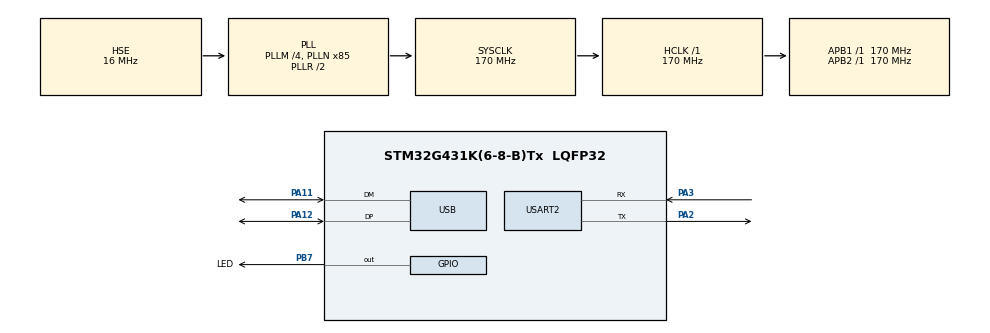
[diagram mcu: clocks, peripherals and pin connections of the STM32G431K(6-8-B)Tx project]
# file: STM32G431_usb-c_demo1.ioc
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Dma.Request0=USART2_RX
Dma.Request1=USART2_TX
Dma.USART2_RX.0.Direction=DMA_PERIPH_TO_MEMORY
Dma.USART2_RX.0.EventEnable=DISABLE
Dma.USART2_RX.0.Instance=DMA1_Channel1
Dma.USART2_RX.0.MemDataAlignment=DMA_MDATAALIGN_BYTE
Dma.USART2_RX.0.MemInc=DMA_MINC_ENABLE
Dma.USART2_RX.0.Mode=DMA_NORMAL
Dma.USART2_RX.0.PeriphDataAlignment=DMA_PDATAALIGN_BYTE
Dma.USART2_RX.0.PeriphInc=DMA_PINC_DISABLE
Dma.USART2_RX.0.Polarity=HAL_DMAMUX_REQ_GEN_RISING
Dma.USART2_RX.0.Priority=DMA_PRIORITY_LOW
Dma.USART2_RX.0.RequestNumber=1
Dma.USART2_RX.0.SignalID=NONE
Dma.USART2_RX.0.SyncEnable=DISABLE
Dma.USART2_RX.0.SyncPolarity=HAL_DMAMUX_SYNC_NO_EVENT
Dma.USART2_RX.0.SyncRequestNumber=1
Dma.USART2_RX.0.SyncSignalID=NONE
Dma.USART2_TX.1.Direction=DMA_MEMORY_TO_PERIPH
Dma.USART2_TX.1.EventEnable=DISABLE
Dma.USART2_TX.1.Instance=DMA1_Channel2
Dma.USART2_TX.1.MemDataAlignment=DMA_MDATAALIGN_BYTE
Dma.USART2_TX.1.MemInc=DMA_MINC_ENABLE
Dma.USART2_TX.1.Mode=DMA_NORMAL
Dma.USART2_TX.1.PeriphDataAlignment=DMA_PDATAALIGN_BYTE
Dma.USART2_TX.1.PeriphInc=DMA_PINC_DISABLE
Dma.USART2_TX.1.Polarity=HAL_DMAMUX_REQ_GEN_RISING
Dma.USART2_TX.1.Priority=DMA_PRIORITY_LOW
Dma.USART2_TX.1.RequestNumber=1
Dma.USART2_TX.1.SignalID=NONE
Dma.USART2_TX.1.SyncEnable=DISABLE
Dma.USART2_TX.1.SyncPolarity=HAL_DMAMUX_SYNC_NO_EVENT
Dma.USART2_TX.1.SyncRequestNumber=1
Dma.USART2_TX.1.SyncSignalID=NONE
Mcu.Family=STM32G4
Mcu.Name=STM32G431K(6-8-B)Tx
Mcu.Package=LQFP32
NVIC.DMA1_Channel1_IRQn=true\:0\:0\:false\:false\:true\:false\:true\:true
NVIC.DMA1_Channel2_IRQn=true\:0\:0\:false\:false\:true\:false\:true\:true
NVIC.PriorityGroup=NVIC_PRIORITYGROUP_4
NVIC.TIM6_DAC_IRQn=true\:15\:0\:false\:false\:true\:false\:true\:true
NVIC.TIM7_IRQn=true\:0\:0\:false\:false\:true\:true\:true\:true
NVIC.TimeBase=TIM6_DAC_IRQn
NVIC.TimeBaseIP=TIM6
NVIC.USART2_IRQn=true\:0\:0\:false\:false\:true\:true\:true\:true
NVIC.USB_LP_IRQn=true\:0\:0\:false\:false\:true\:false\:true\:true
PA11.Mode=Device
PA11.Signal=USB_DM
PA12.Mode=Device
PA12.Signal=USB_DP
PA13.Mode=Trace_Asynchronous_SW
PA13.Signal=SYS_JTMS-SWDIO
PA14.Mode=Trace_Asynchronous_SW
PA14.Signal=SYS_JTCK-SWCLK
PA2.Mode=Asynchronous
PA2.Signal=USART2_TX
PA3.Mode=Asynchronous
PA3.Signal=USART2_RX
PB3.Mode=Trace_Asynchronous_SW
PB3.Signal=SYS_JTDO-SWO
PB7.GPIO_Label=LED
PB7.Signal=GPIO_Output
PF0-OSC_IN.Mode=HSE-External-Oscillator
PF0-OSC_IN.Signal=RCC_OSC_IN
PF1-OSC_OUT.Mode=HSE-External-Oscillator
PF1-OSC_OUT.Signal=RCC_OSC_OUT
ProjectManager.HeapSize=0x200
ProjectManager.StackSize=0x800
ProjectManager.TargetToolchain=STM32CubeIDE
RCC.ADC12Freq_Value=170000000
RCC.AHBFreq_Value=170000000
RCC.APB1Freq_Value=170000000
RCC.APB1TimFreq_Value=170000000
RCC.APB2Freq_Value=170000000
RCC.APB2TimFreq_Value=170000000
RCC.CK48CLockSelection=RCC_USBCLKSOURCE_HSI48
RCC.CortexFreq_Value=170000000
RCC.EXTERNAL_CLOCK_VALUE=12288000
RCC.HCLKFreq_Value=170000000
RCC.HSE_VALUE=16000000
RCC.HSI48_VALUE=48000000
RCC.HSI_VALUE=16000000
RCC.LSE_VALUE=32768
RCC.PLLM=RCC_PLLM_DIV4
RCC.PLLN=85
RCC.PLLQ=RCC_PLLQ_DIV6
RCC.PLLSourceVirtual=RCC_PLLSOURCE_HSE
RCC.SYSCLKFreq_VALUE=170000000
RCC.SYSCLKSource=RCC_SYSCLKSOURCE_PLLCLK
RCC.USBFreq_Value=48000000
RCC.VCOOutputFreq_Value=340000000
TIM7.PeriodNoDither=17000-1
USART2.VirtualMode-Asynchronous=VM_ASYNC
USB_DEVICE.CLASS_NAME_FS=HID
USB_DEVICE.CONFIGURATION_STRING_HID_FS=MIDI Config
USB_DEVICE.INTERFACE_STRING_HID_FS=MIDI Interface
USB_DEVICE.MANUFACTURER_STRING=WITNS
USB_DEVICE.PID_HID_FS=0x0216
USB_DEVICE.PRODUCT_STRING_HID_FS=Spatioport2
USB_DEVICE.VID=0x1988
USB_DEVICE.VirtualMode=Hid
USB_DEVICE.VirtualModeFS=Hid_FS
VP_SYS_VS_DBSignals.Mode=DisableDeadBatterySignals
VP_SYS_VS_tim6.Mode=TIM6
VP_TIM7_VS_ClockSourceINT.Mode=Enable_Timer
VP_USB_DEVICE_VS_USB_DEVICE_HID_FS.Mode=HID_FS
board=custom

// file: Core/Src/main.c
/* USER CODE BEGIN Header */
/**
 ******************************************************************************
 * @file           : main.c
 * @brief          : Main program body
 ******************************************************************************
 * @attention
 *
 * Copyright (c) 2022 STMicroelectronics.
 * All rights reserved.
 *
 * This software is licensed under terms that can be found in the LICENSE file
 * in the root directory of this software component.
 * If no LICENSE file comes with this software, it is provided AS-IS.
 *
 ******************************************************************************
 */

/*
 * Chaque slice a 10 potards
 * Il y a 8 slices, donc 80 potards
 *
 * Solution 1
 * ==========
 * Chaque slice reçoit et transmet le tableau complet
 * On peut bosser avec des DMA sans trop se poser de questions
 * On transmet un tableau de taille 81 (1 + 80 potards)
 * La première case contient le numéro de la slice (FF pour le master)
 * Le master envoie FF 00 00 00 ... à la première slice
 * Elle construit son tableau à partir des données de l'ADC
 * Elle envoie 00 XX XX XX ... à la deuxième slide
 * Etc...
 * À la fin, le master reçoit 07 XX XX XX... le tableau plein
 *
 * 81 * 9 = 729 octets transmis
 * = ~15Hz à 115200 bauds
 * = ~729000 bauds pour 100Hz
 *
 * Solution 2
 * ==========
 * On ne transmet pas le même nombre d'octets pour gagner du temps
 * Le master envoie juste une valeur à la première slice
 * Elle construit son tableau (taille 10) et l'envoie à la deuxième slice
 * Etc...
 *
 * Besoin de savoir qui est qui au début
 *
 * 1 + 10 + 20 + 30 ... + 80 = 361 octets transmis
 * = ~31Hz à 115200 bauds
 * = ~361000 bauds pour 100Hz
 *
 * Solution 3
 * ==========
 * Le plus rapide, je sais pas comment faire
 *
 * -> En mode registre à décalage
 *
 * 80 octets transmis
 * = ~144Hz
 * = ~80000 bauds pour 100Hz
 */

/* USER CODE END Header */
#include "main.h"
#include "dma.h"
#include "tim.h"
#include "usart.h"
#include "usb_device.h"
#include "gpio.h"

/* USER CODE BEGIN Includes */
#include "spatioport.h"
#include "usbd_midi.h"
/* USER CODE END Includes */

void SystemClock_Config(void);

/* USER CODE BEGIN 0 */
#ifdef OLDCODE
static uint8_t buffUsbReport[MIDI_EPIN_SIZE] = {0};
extern USBD_HandleTypeDef hUsbDeviceFS;

static uint8_t uart_transmit_complete = 1;

static uint8_t uart_tx_buf[CC_LENGTH*SLICE_NUMBER];
static uint8_t uart_rx_buf0[CC_LENGTH*SLICE_NUMBER];
static uint8_t uart_rx_buf1[CC_LENGTH*SLICE_NUMBER];
static uint8_t uart_which_buf = 0;

static uint32_t rx_timouts = 0;
static uint32_t tx_errors = 0;
#endif
/* USER CODE END 0 */

int main(void)
{

	/* MCU Configuration--------------------------------------------------------*/

	/* Reset of all peripherals, Initializes the Flash interface and the Systick. */
	HAL_Init();

	/* Configure the system clock */
	SystemClock_Config();

	/* Initialize all configured peripherals */
	MX_GPIO_Init();
	MX_USB_Device_Init();
	MX_DMA_Init();
	MX_USART2_UART_Init();
	MX_TIM7_Init();

	/* Infinite loop */
	/* USER CODE BEGIN WHILE */
	__HAL_DBGMCU_FREEZE_TIM7();
	spatioport_init();

#ifdef OLDCODE
	uint32_t tickstart = 0;
	for (int tx_it = 0 ; tx_it < CC_LENGTH*SLICE_NUMBER ; tx_it++)
	{
		uart_tx_buf[tx_it] = 0;
		uart_rx_buf0[tx_it] = 0;
		uart_rx_buf1[tx_it] = 0;
	}
#endif

	while (1)
	{
		spatioport_usb_loop();
#ifdef OLDCODE
		// Wait 10ms
		while ((HAL_GetTick() - tickstart) < 10)
		{
		}
		tickstart = HAL_GetTick();
#endif

#ifdef OLDCODE
		// Get the values
		for (int i = 0 ; i < CC_LENGTH*SLICE_NUMBER ; i++) {
			if (HAL_UART_Transmit(&huart2, &uart_tx_buf[i], 1, HAL_MAX_DELAY) != HAL_OK)
			{
				tx_errors++;
			}
			if (uart_which_buf == 0)
			{
				while(HAL_UART_Receive(&huart2, &uart_rx_buf0[i], 1, 10) == HAL_TIMEOUT)
				{
					HAL_UART_Transmit(&huart2, &uart_tx_buf[i], 1, HAL_MAX_DELAY);
					rx_timouts++;
				}
			}
			else
			{
				while(HAL_UART_Receive(&huart2, &uart_rx_buf1[i], 1, 10) == HAL_TIMEOUT)
				{
					HAL_UART_Transmit(&huart2, &uart_tx_buf[i], 1, HAL_MAX_DELAY);
					rx_timouts++;
				}
			}
			//			HAL_Delay(1);
		}
#endif

#ifdef OLDCODE
		// Send if different
		for (int i = 0 ; i < CC_LENGTH*SLICE_NUMBER ; i++)
		{
			uint8_t cc = i;
			uint8_t val;

			// Check difference
			if (uart_rx_buf0[i] != uart_rx_buf1[i])
			{
				if (uart_which_buf == 0)
				{
					val = uart_rx_buf0[i];
				}
				else
				{
					val = uart_rx_buf1[i];
				}

				while (USBD_MIDI_GetState(&hUsbDeviceFS) != MIDI_IDLE)
				{
				}

				buffUsbReport[0] = 0x0B;	// 4 MSB = ??? (maybe wire number?) ; 4 LSB Seems to be the kind of message (B = CC message)
				buffUsbReport[1] = 0xB0;	// 4 MSB = message ; 4 LSB = channel
				buffUsbReport[2] = cc;		// Param 1 (for CC = CC number)
				buffUsbReport[3] = val;	// Param 2 (for CC = CC value)

				USBD_MIDI_SendReport(&hUsbDeviceFS, buffUsbReport, 4);

				HAL_GPIO_TogglePin(LED_GPIO_Port, LED_Pin);

			}

		}

		uart_which_buf = !uart_which_buf;
#endif

		/* USER CODE END WHILE */

	}
}

void SystemClock_Config(void)
{
	RCC_OscInitTypeDef RCC_OscInitStruct = {0};
	RCC_ClkInitTypeDef RCC_ClkInitStruct = {0};

	/** Configure the main internal regulator output voltage
	 */
	HAL_PWREx_ControlVoltageScaling(PWR_REGULATOR_VOLTAGE_SCALE1_BOOST);

	/** Initializes the RCC Oscillators according to the specified parameters
	 * in the RCC_OscInitTypeDef structure.
	 */
	RCC_OscInitStruct.OscillatorType = RCC_OSCILLATORTYPE_HSI48|RCC_OSCILLATORTYPE_HSE;
	RCC_OscInitStruct.HSEState = RCC_HSE_ON;
	RCC_OscInitStruct.HSI48State = RCC_HSI48_ON;
	RCC_OscInitStruct.PLL.PLLState = RCC_PLL_ON;
	RCC_OscInitStruct.PLL.PLLSource = RCC_PLLSOURCE_HSE;
	RCC_OscInitStruct.PLL.PLLM = RCC_PLLM_DIV4;
	RCC_OscInitStruct.PLL.PLLN = 85;
	RCC_OscInitStruct.PLL.PLLP = RCC_PLLP_DIV2;
	RCC_OscInitStruct.PLL.PLLQ = RCC_PLLQ_DIV6;
	RCC_OscInitStruct.PLL.PLLR = RCC_PLLR_DIV2;
	if (HAL_RCC_OscConfig(&RCC_OscInitStruct) != HAL_OK)
	{
		Error_Handler();
	}

	/** Initializes the CPU, AHB and APB buses clocks
	 */
	RCC_ClkInitStruct.ClockType = RCC_CLOCKTYPE_HCLK|RCC_CLOCKTYPE_SYSCLK
			|RCC_CLOCKTYPE_PCLK1|RCC_CLOCKTYPE_PCLK2;
	RCC_ClkInitStruct.SYSCLKSource = RCC_SYSCLKSOURCE_PLLCLK;
	RCC_ClkInitStruct.AHBCLKDivider = RCC_SYSCLK_DIV1;
	RCC_ClkInitStruct.APB1CLKDivider = RCC_HCLK_DIV1;
	RCC_ClkInitStruct.APB2CLKDivider = RCC_HCLK_DIV1;

	if (HAL_RCC_ClockConfig(&RCC_ClkInitStruct, FLASH_LATENCY_4) != HAL_OK)
	{
		Error_Handler();
	}
}

void HAL_TIM_PeriodElapsedCallback(TIM_HandleTypeDef *htim)
{
	/* USER CODE BEGIN Callback 0 */

	if (TIM7 == htim->Instance)
	{
		spatioport_timer_irq_handler();
	}
	/* USER CODE END Callback 0 */
	if (htim->Instance == TIM6) {
		HAL_IncTick();
	}
}

void Error_Handler(void)
{
	__disable_irq();
	while (1)
	{
	}
}
